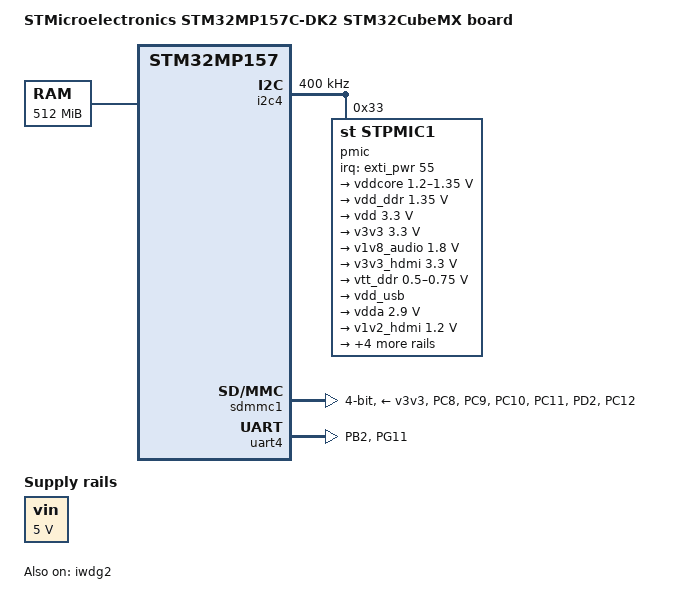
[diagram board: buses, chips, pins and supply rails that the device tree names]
// SPDX-License-Identifier: (GPL-2.0-or-later OR BSD-3-Clause)
/*
 * Copyright (C) 2023, STMicroelectronics - All Rights Reserved
 * Author: STM32CubeMX code generation for STMicroelectronics.
 */

/* For more information on Device Tree configuration, please refer to
 * https://wiki.st.com/stm32mpu/wiki/Category:Device_tree_configuration
 */

/dts-v1/;
#include <dt-bindings/pinctrl/stm32-pinfunc.h>
#include <dt-bindings/clock/stm32mp1-clksrc.h>
#include "stm32mp15-mx.dtsi"

#include "stm32mp157.dtsi"
#include "stm32mp15xc.dtsi"
#include "stm32mp15-pinctrl.dtsi"
#include "stm32mp15xxac-pinctrl.dtsi"
#include "stm32mp15-ddr.dtsi"

/* USER CODE BEGIN includes */
#include <dt-bindings/power/stm32mp1-power.h>
/* USER CODE END includes */

/ {
	model = "STMicroelectronics STM32MP157C-DK2 STM32CubeMX board";
	compatible = "st,stm32mp157c-la_m4_fw-mx", "st,stm32mp157c-dk2", "st,stm32mp157";

	memory@c0000000 {
		device_type = "memory";
		reg = <0xc0000000 0x20000000>;

		/* USER CODE BEGIN memory */
		/* USER CODE END memory */
	};

	/* USER CODE BEGIN root */

	memory@c0000000{
		device_type = "memory";
		reg = <0xc0000000 0x20000000>;
	};

	vin:vin{
		compatible = "regulator-fixed";
		regulator-name = "vin";
		regulator-min-microvolt = <5000000>;
		regulator-max-microvolt = <5000000>;
		regulator-always-on;
	};

	aliases{
		serial0 = &uart4;
		serial1 = &usart3;
		serial2 = &uart7;
		serial3 = &usart2;
	};

	chosen{
		stdout-path = "serial0:115200n8";
	};
	/* USER CODE END root */

	clocks {
		/* USER CODE BEGIN clocks */
		/* USER CODE END clocks */

		clk_hsi: clk-hsi {
			clock-frequency = <64000000>;

			/* USER CODE BEGIN clk_hsi */
			/* USER CODE END clk_hsi */
		};
		clk_lse: clk-lse {
			clock-frequency = <32768>;
			st,drive = < LSEDRV_MEDIUM_HIGH >;

			/* USER CODE BEGIN clk_lse */
			/* USER CODE END clk_lse */
		};
		clk_hse: clk-hse {
			status = "disabled";

			/* USER CODE BEGIN clk_hse */
			/* USER CODE END clk_hse */
		};
	};

}; /*root*/

&pinctrl {
	sdmmc1_pins_mx: sdmmc1_mx-0 {
		pins1 {
			pinmux = <STM32_PINMUX('C', 8, AF12)>, /* SDMMC1_D0 */
					 <STM32_PINMUX('C', 9, AF12)>, /* SDMMC1_D1 */
					 <STM32_PINMUX('C', 10, AF12)>, /* SDMMC1_D2 */
					 <STM32_PINMUX('C', 11, AF12)>, /* SDMMC1_D3 */
					 <STM32_PINMUX('D', 2, AF12)>; /* SDMMC1_CMD */
			bias-disable;
			drive-push-pull;
			slew-rate = <1>;
		};
		pins2 {
			pinmux = <STM32_PINMUX('C', 12, AF12)>; /* SDMMC1_CK */
			bias-disable;
			drive-push-pull;
			slew-rate = <3>;
		};
	};

	uart4_pins_mx: uart4_mx-0 {
		pins1 {
			pinmux = <STM32_PINMUX('B', 2, AF8)>; /* UART4_RX */
			bias-disable;
		};
		pins2 {
			pinmux = <STM32_PINMUX('G', 11, AF6)>; /* UART4_TX */
			bias-disable;
			drive-push-pull;
			slew-rate = <0>;
		};
	};

	/* USER CODE BEGIN pinctrl */
	/* USER CODE END pinctrl */
};

&pinctrl_z {
	i2c4_pins_z_mx: i2c4_mx-0 {
		pins {
			pinmux = <STM32_PINMUX('Z', 4, AF6)>, /* I2C4_SCL */
					 <STM32_PINMUX('Z', 5, AF6)>; /* I2C4_SDA */
			bias-pull-up;
			drive-open-drain;
			slew-rate = <0>;
		};
	};

	/* USER CODE BEGIN pinctrl_z */
	/* USER CODE END pinctrl_z */
};

&i2c4{
	pinctrl-names = "default";
	pinctrl-0 = <&i2c4_pins_z_mx>;
	status = "okay";

	/* USER CODE BEGIN i2c4 */
	i2c-scl-rising-time-ns = <185>;
	i2c-scl-falling-time-ns = <20>;
	clock-frequency = <400000>;

	pmic:stpmic@33{
		compatible = "st,stpmic1";
		reg = <0x33>;
		interrupts-extended = <&exti_pwr 55 IRQ_TYPE_EDGE_FALLING>;
		interrupt-controller;
		#interrupt-cells = <2>;
		status = "okay";
		secure-status = "okay";

		regulators{
			compatible = "st,stpmic1-regulators";
			buck1-supply = <&vin>;
			buck2-supply = <&vin>;
			buck3-supply = <&vin>;
			buck4-supply = <&vin>;
			ldo1-supply = <&v3v3>;
			ldo2-supply = <&vin>;
			ldo3-supply = <&vdd_ddr>;
			ldo4-supply = <&vin>;
			ldo5-supply = <&vin>;
			ldo6-supply = <&v3v3>;
			vref_ddr-supply = <&vin>;
			boost-supply = <&vin>;
			pwr_sw1-supply = <&bst_out>;
			pwr_sw2-supply = <&bst_out>;

			vddcore:buck1{
				regulator-name = "vddcore";
				regulator-min-microvolt = <1200000>;
				regulator-max-microvolt = <1350000>;
				regulator-always-on;
				regulator-initial-mode = <0>;
				regulator-over-current-protection;

				lp-stop{
					regulator-on-in-suspend;
					regulator-suspend-microvolt = <1200000>;
				};

				standby-ddr-sr{
					regulator-off-in-suspend;
				};

				standby-ddr-off{
					regulator-off-in-suspend;
				};
			};

			vdd_ddr:buck2{
				regulator-name = "vdd_ddr";
				regulator-min-microvolt = <1350000>;
				regulator-max-microvolt = <1350000>;
				regulator-always-on;
				regulator-initial-mode = <0>;
				regulator-over-current-protection;

				lp-stop{
					regulator-suspend-microvolt = <1350000>;
					regulator-on-in-suspend;
				};

				standby-ddr-sr{
					regulator-suspend-microvolt = <1350000>;
					regulator-on-in-suspend;
				};

				standby-ddr-off{
					regulator-off-in-suspend;
				};
			};

			vdd:buck3{
				regulator-name = "vdd";
				regulator-min-microvolt = <3300000>;
				regulator-max-microvolt = <3300000>;
				regulator-always-on;
				st,mask-reset;
				regulator-initial-mode = <0>;
				regulator-over-current-protection;

				lp-stop{
					regulator-suspend-microvolt = <3300000>;
					regulator-on-in-suspend;
				};

				standby-ddr-sr{
					regulator-suspend-microvolt = <3300000>;
					regulator-on-in-suspend;
				};

				standby-ddr-off{
					regulator-suspend-microvolt = <3300000>;
					regulator-on-in-suspend;
				};
			};

			v3v3:buck4{
				regulator-name = "v3v3";
				regulator-min-microvolt = <3300000>;
				regulator-max-microvolt = <3300000>;
				regulator-always-on;
				regulator-over-current-protection;
				regulator-initial-mode = <0>;

				lp-stop{
					regulator-suspend-microvolt = <3300000>;
					regulator-on-in-suspend;
				};

				standby-ddr-sr{
					regulator-off-in-suspend;
				};

				standby-ddr-off{
					regulator-off-in-suspend;
				};
			};

			v1v8_audio:ldo1{
				regulator-name = "v1v8_audio";
				regulator-min-microvolt = <1800000>;
				regulator-max-microvolt = <1800000>;
				regulator-always-on;

				standby-ddr-sr{
					regulator-off-in-suspend;
				};

				standby-ddr-off{
					regulator-off-in-suspend;
				};
			};

			v3v3_hdmi:ldo2{
				regulator-name = "v3v3_hdmi";
				regulator-min-microvolt = <3300000>;
				regulator-max-microvolt = <3300000>;
				regulator-always-on;

				standby-ddr-sr{
					regulator-off-in-suspend;
				};

				standby-ddr-off{
					regulator-off-in-suspend;
				};
			};

			vtt_ddr:ldo3{
				regulator-name = "vtt_ddr";
				regulator-min-microvolt = <500000>;
				regulator-max-microvolt = <750000>;
				regulator-always-on;
				regulator-over-current-protection;

				lp-stop{
					regulator-off-in-suspend;
				};

				standby-ddr-sr{
					regulator-off-in-suspend;
				};

				standby-ddr-off{
					regulator-off-in-suspend;
				};
			};

			vdd_usb:ldo4{
				regulator-name = "vdd_usb";

				standby-ddr-sr{
					regulator-off-in-suspend;
				};

				standby-ddr-off{
					regulator-off-in-suspend;
				};
			};

			vdda:ldo5{
				regulator-name = "vdda";
				regulator-min-microvolt = <2900000>;
				regulator-max-microvolt = <2900000>;
				regulator-boot-on;

				standby-ddr-sr{
					regulator-off-in-suspend;
				};

				standby-ddr-off{
					regulator-off-in-suspend;
				};
			};

			v1v2_hdmi:ldo6{
				regulator-name = "v1v2_hdmi";
				regulator-min-microvolt = <1200000>;
				regulator-max-microvolt = <1200000>;
				regulator-always-on;

				standby-ddr-sr{
					regulator-off-in-suspend;
				};

				standby-ddr-off{
					regulator-off-in-suspend;
				};
			};

			vref_ddr:vref_ddr{
				regulator-name = "vref_ddr";
				regulator-always-on;
				regulator-over-current-protection;

				lp-stop{
					regulator-on-in-suspend;
				};

				standby-ddr-sr{
					regulator-on-in-suspend;
				};

				standby-ddr-off{
					regulator-off-in-suspend;
				};
			};

			bst_out:boost{
				regulator-name = "bst_out";
			};

			vbus_otg:pwr_sw1{
				regulator-name = "vbus_otg";
			};

			vbus_sw:pwr_sw2{
				regulator-name = "vbus_sw";
				regulator-active-discharge = <1>;
			};
		};
	};
	/* USER CODE END i2c4 */
};

&iwdg2{
	status = "okay";

	/* USER CODE BEGIN iwdg2 */
	timeout-sec = <32>;
	secure-timeout-sec = <5>;
	/* USER CODE END iwdg2 */
};

&rcc{
	status = "okay";

	/* USER CODE BEGIN rcc */
	/* USER CODE END rcc */

	st,clksrc = <
		CLK_CKPER_HSI
		CLK_SDMMC12_PLL4P
		CLK_STGEN_HSI
		CLK_I2C46_HSI
		CLK_UART24_HSI
		CLK_MPU_PLL1P
		CLK_AXI_PLL2P
		CLK_MCU_PLL3P
	>;
	st,clkdiv = <
		DIV(DIV_MPU, 1)
		DIV(DIV_AXI, 0)
		DIV(DIV_MCU, 0)
		DIV(DIV_APB1, 1)
		DIV(DIV_APB2, 1)
		DIV(DIV_APB3, 1)
		DIV(DIV_APB4, 1)
		DIV(DIV_APB5, 2)
		DIV(DIV_RTC, 23)
		DIV(DIV_MCO1, 0)
		DIV(DIV_MCO2, 0)
	>;
	st,pll_vco {
		pll1_vco_800Mhz: pll1-vco-800Mhz {
			src = < CLK_PLL12_HSI >;
			divmn = < 3 24 >;
		};
		pll2_vco_800Mhz: pll2-vco-800Mhz {
			src = < CLK_PLL12_HSI >;
			divmn = < 3 24 >;
		};
		pll3_vco_400Mhz: pll3-vco-400Mhz {
			src = < CLK_PLL3_HSI >;
			divmn = < 3 24 >;
		};
		pll4_vco_416Mhz: pll4-vco-416Mhz {
			src = < CLK_PLL4_HSI >;
			divmn = < 3 25 >;
		};
		/* USER CODE BEGIN rcc_st-pll_vco */
		/* USER CODE END rcc_st-pll_vco */
	};

	pll1:st,pll@0 {
		compatible = "st,stm32mp1-pll";
		reg = <0>;

		st,pll = < &pll1_cfg1 >;

		pll1_cfg1: pll1_cfg1 {
			st,pll_vco = < &pll1_vco_800Mhz >;
			st,pll_div_pqr = < 0 1 1 >;
		};
		/* USER CODE BEGIN pll1 */
		/* USER CODE END pll1 */
	};

	pll2:st,pll@1 {
		compatible = "st,stm32mp1-pll";
		reg = <1>;

		st,pll = < &pll2_cfg1 >;

		pll2_cfg1: pll2_cfg1 {
			st,pll_vco = < &pll2_vco_800Mhz >;
			st,pll_div_pqr = < 1 0 0 >;
		};
		/* USER CODE BEGIN pll2 */
		/* USER CODE END pll2 */
	};

	pll3:st,pll@2 {
		compatible = "st,stm32mp1-pll";
		reg = <2>;

		st,pll = < &pll3_cfg1 >;

		pll3_cfg1: pll3_cfg1 {
			st,pll_vco = < &pll3_vco_400Mhz >;
			st,pll_div_pqr = < 1 3 36 >;
		};
		/* USER CODE BEGIN pll3 */
		/* USER CODE END pll3 */
	};

	pll4:st,pll@3 {
		compatible = "st,stm32mp1-pll";
		reg = <3>;

		st,pll = < &pll4_cfg1 >;

		pll4_cfg1: pll4_cfg1 {
			st,pll_vco = < &pll4_vco_416Mhz >;
			st,pll_div_pqr = < 3 4 15 >;
		};
		/* USER CODE BEGIN pll4 */
		/* USER CODE END pll4 */
	};

};

&sdmmc1{
	pinctrl-names = "default";
	pinctrl-0 = <&sdmmc1_pins_mx>;
	status = "okay";

	/* USER CODE BEGIN sdmmc1 */
	disable-wp;
	st,neg-edge;
	bus-width = <4>;
	vmmc-supply = <&v3v3>;
	/* USER CODE END sdmmc1 */
};

&uart4{
	pinctrl-names = "default";
	pinctrl-0 = <&uart4_pins_mx>;
	status = "okay";

	/* USER CODE BEGIN uart4 */
	/* USER CODE END uart4 */
};

/* USER CODE BEGIN addons */

&cpu0{
	cpu-supply = <&vddcore>;
};

&cpu1{
	cpu-supply = <&vddcore>;
};

&nvmem_layout{
	nvmem-cells = <&cfg0_otp>,
			<&part_number_otp>,
			<&monotonic_otp>,
			<&nand_otp>,
			<&uid_otp>,
			<&package_otp>,
			<&hw2_otp>,
			<&pkh_otp>,
			<&board_id>;
	nvmem-cell-names = "cfg0_otp",
			"part_number_otp",
			"monotonic_otp",
			"nand_otp",
			"uid_otp",
			"package_otp",
			"hw2_otp",
			"pkh_otp",
			"board_id";
};

&timers15{
	secure-status = "okay";
	st,hsi-cal-input = <7>;
	st,csi-cal-input = <8>;
};
/* USER CODE END addons */

